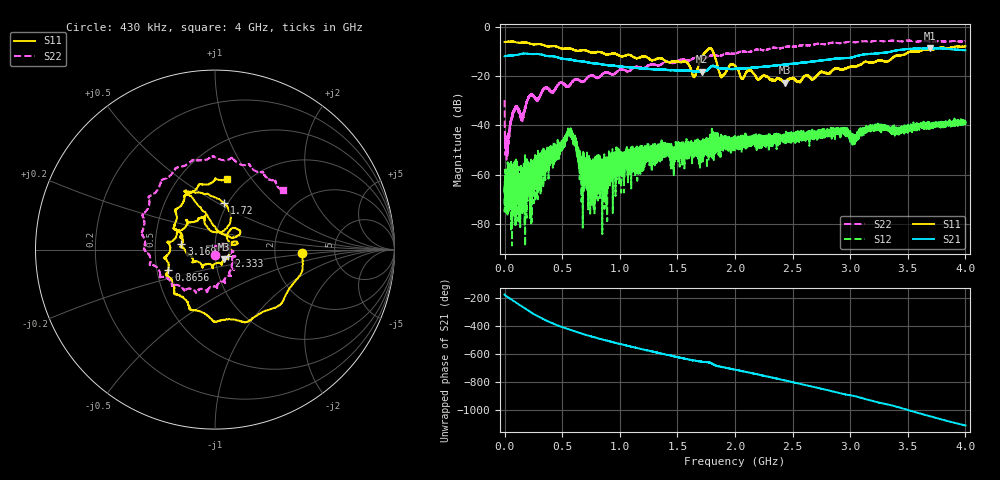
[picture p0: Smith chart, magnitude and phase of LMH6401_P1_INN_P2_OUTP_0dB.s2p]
!Keysight Technologies N9917A: A.08.18
!Date: Saturday, 27 May 2023 16:53:12
!Timezone: (GMT-07:00) Mountain Time (US & Canada)
!Model: N9917A
!Serial: MY52401314
!GPS Latitude:
!GPS Longitude:
!GPS TimeStamp: 0001-01-01 00:00:00Z
!GPS Seconds Since Last Read: 0
!CHECKSUM:1344617248
!Correction: S11(ON U)S21(ON U)S12(ON U)S22(ON U)
!S2P File: Measurements:S11,S21,S12,S22:
# Hz S DB R 50
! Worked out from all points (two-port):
!   10000 points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, 430 kHz to 4 GHz, reference 50 ohm
!   highest |S21| = -8.78 dB at 3.696 GHz (marker M1); lowest = -18.3 dB at 1.713 GHz (marker M2)
!   |S21| within 3 dB of the highest: 49.71 MHz to 351 MHz (301.3 MHz wide, 150 % of centre); 3.071 GHz to end of sweep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
!   lowest |S11| = -22.7 dB at 2.43 GHz (marker M3), VSWR 1.16, Z = 54.9 - j5.92 ohm
!   |S11| at or under -10 dB: 724.5 MHz to 1.748 GHz (1.024 GHz wide, 82.8 % of centre); 1.808 GHz to 3.601 GHz (1.793 GHz wide, 66.3 % of centre); 3.600814 GHz to 3.602561 GHz (1.747 MHz wide, 0.0485 % of centre)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
!   |S22| runs from -53.9 to -5.6 dB; largest |S21 - S12| = 0.35
!   S11 on the Smith chart (normalised r, x): 430 kHz: 2.89, -0.14; 865.6 MHz: 0.58, -0.14; 1.72 GHz: 0.96, +0.53; 2.333 GHz: 1.16, -0.09; 3.169 GHz: 0.68, +0.04; 4 GHz: 0.82, +0.77
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429997  -6.24 -2.1  -12.03 -176.1  -66.99 167.8  -29.78 -94.4
2.242983e7  -6.18 -6.4  -11.82 168.7  -73.87 -150.9  -52.34 -59.9
9.202931e7  -6.32 -20.0  -11.59 130.5  -67.21 -29.8  -33.42 61.8
1.436289e8  -6.59 -33.6  -11.12 102.9  -63.31 43.4  -35.85 79.8
3.036277e8  -7.12 -66.1  -11.19 22.2  -56.41 85.6  -28.27 35.7
5.600258e8  -8.88 -113.2  -13.31 -66.7  -44.01 -21.0  -24.13 9.3
6.67225e8  -9.78 -130.5  -14.14 -95.3  -56.07 -63.4  -22.44 7.0
8.656235e8  -10.97 -156.5  -15.52 -141.4  -51.76 -19.7  -18.67 -20.6
1.33362e9  -12.82 134.3  -17.30 126.1  -51.01 -37.2  -15.72 -66.7
1.645218e9  -20.42 85.0  -18.21 70.9  -49.85 -86.0  -12.82 -100.5
1.713217e9  -12.19 73.2  -18.33 62.1  -52.58 -100.2  -12.78 -103.9
1.720017e9  -11.58 79.1  -18.24 61.4  -49.84 -106.3  -12.85 -105.5
1.794817e9  -9.07 117.0  -16.22 51.8  -46.91 -109.4  -11.70 -114.4
1.886816e9  -20.27 62.9  -17.02 24.5  -47.22 -108.2  -11.66 -124.2
2.000415e9  -15.83 49.0  -17.18 5.4  -48.21 -121.6  -10.93 -134.9
2.333213e9  -21.65 -26.9  -15.80 -52.7  -45.77 -167.0  -8.60 -167.3
2.430412e9  -22.72 -47.2  -15.44 -71.2  -45.55 -173.7  -8.35 -177.9
2.66681e9  -21.36 -106.4  -14.27 -115.6  -43.16 150.5  -7.48 158.1
3.169206e9  -14.46 171.2  -11.14 146.9  -40.41 92.9  -6.04 110.2
3.333605e9  -13.89 156.0  -10.35 114.6  -42.11 74.8  -5.87 94.0
3.695602e9  -9.27 115.1  -8.78 31.3  -40.31 37.4  -6.12 64.7
4e9  -7.99 80.3  -9.61 -34.1  -38.10 3.2  -5.88 40.8
